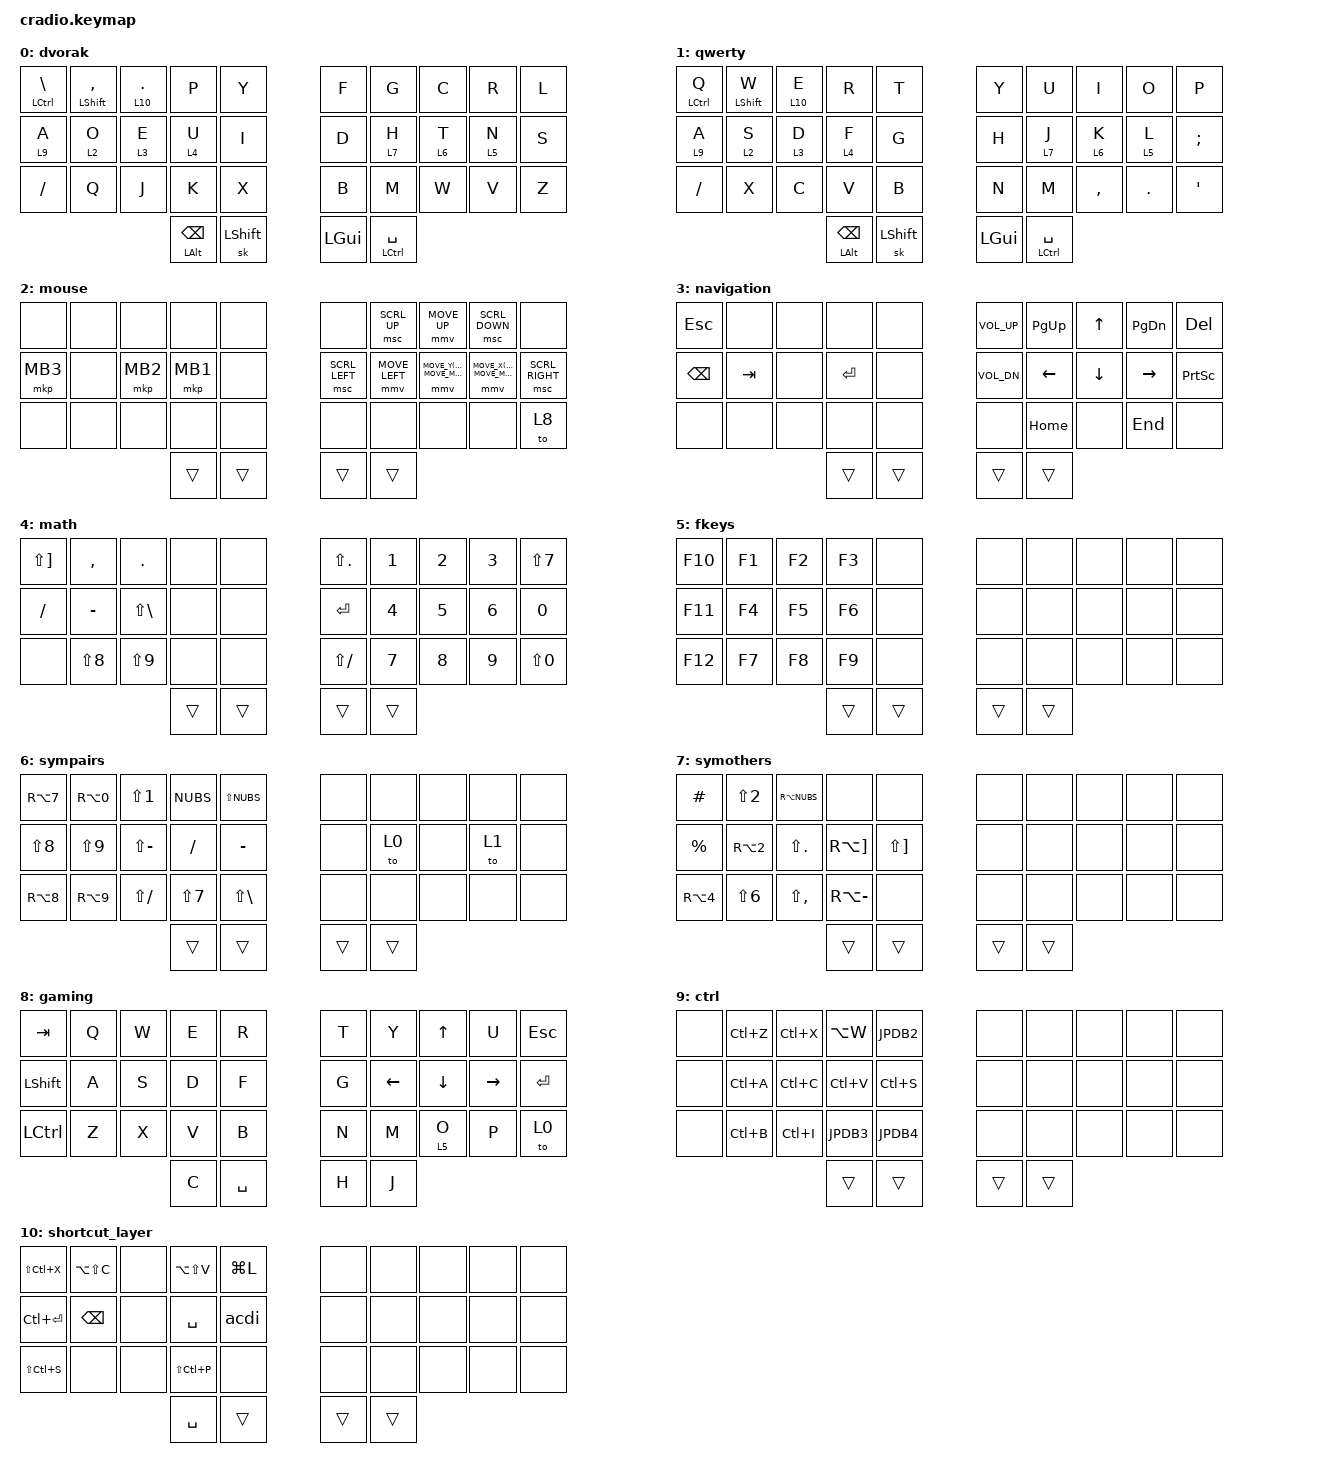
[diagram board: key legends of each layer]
// Copyright (c) 2022 The ZMK Contributors
// SPDX-License-Identifier: MIT

#include <behaviors.dtsi>
#include <dt-bindings/zmk/keys.h>
#include <dt-bindings/zmk/bt.h>
#include <behaviors/mouse_keys.dtsi>
#include <dt-bindings/zmk/mouse.h>

#define U_MOUSE_MOVE_MAX 1000                     /* <--- New max speed setting (default: 600) */
#undef MOVE_UP
#undef MOVE_DOWN
#undef MOVE_LEFT
#undef MOVE_RIGHT
#define MOVE_UP MOVE_Y(-U_MOUSE_MOVE_MAX)
#define MOVE_DOWN MOVE_Y(U_MOUSE_MOVE_MAX)
#define MOVE_LEFT MOVE_X(-U_MOUSE_MOVE_MAX)
#define MOVE_RIGHT MOVE_X(U_MOUSE_MOVE_MAX)

&mmv {
    time-to-max-speed-ms = <500>;             /* <--- How long time until max speed is reached (default: 500) */
};

 &sk {
    release-after-ms = <2000>;
    quick-release;
};


/ {
    macros {
        acdi: animecards_custom_definition_insertion {
            compatible = "zmk,behavior-macro";
            #binding-cells = <0>;
            bindings
                = <&macro_tap &kp NUBS &kp L &kp I &kp LS(NUBS)>
                ;
        };

        JPDB2: JPDB_component_styling_macro_2 {
            compatible = "zmk,behavior-macro";
            #binding-cells = <0>;
            bindings
                = <&macro_tap &kp LC(LS(V)) &kp PG_UP &kp DOWN &kp BSPC &kp SPACE &kp DOWN &kp LEFT &kp DOWN &kp BSPC &kp SPACE>
                ;
        };

        JPDB3: JPDB_component_styling_macro_3 {
            compatible = "zmk,behavior-macro";
            #binding-cells = <0>;
            bindings
                = <&macro_tap &kp LC(LS(V)) &kp PG_UP &kp PG_UP &kp DOWN &kp BSPC &kp SPACE &kp DOWN &kp LEFT &kp DOWN &kp BSPC &kp SPACE &kp DOWN &kp LEFT &kp DOWN &kp BSPC &kp SPACE>
                ;
        };

        JPDB4: JPDB_component_styling_macro_4 {
            compatible = "zmk,behavior-macro";
            #binding-cells = <0>;
            bindings
                = <&macro_tap &kp LC(LS(V)) &kp PG_UP &kp PG_UP &kp DOWN &kp BSPC &kp SPACE &kp DOWN &kp LEFT &kp DOWN &kp BSPC &kp SPACE &kp DOWN &kp LEFT &kp DOWN &kp BSPC &kp SPACE &kp DOWN &kp LEFT &kp DOWN &kp BSPC &kp SPACE>
                ;
        };

    };
};

/ {
    combos {
        compatible = "zmk,combos";
        combo_shift {
            layers = <0 1>;
            timeout-ms = <50>;
            key-positions = <0 1>;
            bindings = <&kp LSHFT>;
        };

                compatible = "zmk,combos";
        combo_caps {
            layers = <0 1>;
            timeout-ms = <50>;
            key-positions = <1 2>;
            bindings = <&kp CAPS>;
        };
    };
};

/ {
    behaviors {
        ht: hold_tap {
            compatible = "zmk,behavior-hold-tap";
            #binding-cells = <2>;
            flavor = "balanced";
            tapping-term-ms = <280>;
            quick-tap-ms = <150>;
            require-prior-idle-ms = <150>;
            bindings = <&kp>, <&kp>;
        };
        skmt: sticky_mod_tap {
            compatible = "zmk,behavior-hold-tap";
            #binding-cells = <2>;
            flavor = "balanced";
            tapping-term-ms = <220>;
            quick-tap-ms = <150>;
            require-prior-idle-ms = <100>;
            bindings = <&kp>, <&sk>;
        };
        hm: homerow_mods {
            compatible = "zmk,behavior-hold-tap";
            #binding-cells = <2>;
            tapping-term-ms = <200>;
            quick-tap-ms = <0>;
            require-prior-idle-ms = <150>;
            flavor = "tap-preferred";
            bindings = <&mo>, <&kp>;
        };
        hm2: homerow_mods2 {
            compatible = "zmk,behavior-hold-tap";
            #binding-cells = <2>;
            tapping-term-ms = <200>;
            require-prior-idle-ms = <150>;
            flavor = "tap-preferred";
            hold-while-undecided;
            bindings = <&kp>, <&kp>;
        };

        hm3: homerow_mods3 {
            compatible = "zmk,behavior-hold-tap";
            #binding-cells = <2>;
            tapping-term-ms = <200>;
            quick-tap-ms = <0>;
            require-prior-idle-ms = <150>;
            flavor = "tap-preferred";
            bindings = <&kp>, <&kp>;
        };
 };



    keymap {
        compatible = "zmk,keymap";
        
        dvorak {
            bindings = <
        //╭──────────┬──────────┬──────────┬──────────┬──────────╮   ╭──────────┬──────────┬──────────┬──────────┬──────────╮
        //│  Q       │  W       │  E       │  R       │  T       │   │  Y       │  U       │  I       │  O       │  P       │
            &hm2 LCTRL BSLH &hm2 LSHIFT COMMA &hm 10 DOT &kp P &kp Y    &kp F      &kp G      &kp C      &kp R      &kp L
        //├──────────┼──────────┼──────────┼──────────┼──────────┤   ├──────────┼──────────┼──────────┼──────────┼──────────┤
        //│  A       │  S       │  D       │  F       │  G       │   │  H       │  J       │  K       │  L       │  S       │
           &hm 9 A    &hm 2 O    &hm 3 E    &hm 4 U    &kp I          &kp D      &hm 7 H   &hm 6 T      &hm 5 N &kp S
        //├──────────┼──────────┼──────────┼──────────┼──────────┤   ├──────────┼──────────┼──────────┼──────────┼──────────┤
        //│  Z       │  X       │  C       │  V       │  B       │   │  N       │  M       │  W       │  V       │  Z       │
            &kp SLASH &kp Q      &kp J      &kp K      &kp X          &kp B      &kp M      &kp W      &kp V      &kp Z
        //╰──────────┴──────────┴──────────┼──────────┼──────────┤   ├──────────┼──────────┼──────────┴──────────┴──────────╯
                                     &hm3 LALT BSPC &sk LSHIFT  &kp LGUI   &hm3 LCTRL SPACE
        //                                 ╰──────────┴──────────╯   ╰──────────┴──────────╯
            >;
        };

        qwerty {
            bindings = <
        //╭──────────┬──────────┬──────────┬──────────┬──────────╮   ╭──────────┬──────────┬──────────┬──────────┬──────────╮
        //│  Q       │  W       │  E       │  R       │  T       │   │  Y       │  U       │  I       │  O       │  P       │
            &hm2 LCTRL Q &hm2 LSHIFT W &hm 10 E &kp R    &kp T          &kp Y      &kp U      &kp I      &kp O      &kp P
        //├──────────┼──────────┼──────────┼──────────┼──────────┤   ├──────────┼──────────┼──────────┼──────────┼──────────┤
        //│  A       │  S       │  D       │  F       │  G       │   │  H       │  J       │  K       │  L       │ ; :      │
           &hm 9 A      &hm 2 S    &hm 3 D    &hm 4 F    &kp G          &kp H      &hm 7 J    &hm 6 K      &hm 5 L  &kp SEMI
        //├──────────┼──────────┼──────────┼──────────┼──────────┤   ├──────────┼──────────┼──────────┼──────────┼──────────┤
        //│  Z       │  X       │  C       │  V       │  B       │   │  N       │  M       │ , <      │ . >      │ ' "      │
            &kp SLASH &kp X      &kp C      &kp V      &kp B          &kp N      &kp M      &kp COMMA  &kp DOT    &kp SQT
        //╰──────────┴──────────┴──────────┼──────────┼──────────┤   ├──────────┼──────────┼──────────┴──────────┴──────────╯
                                     &mt LALT BSPC &sk LSHIFT  &kp LGUI   &mt LCTRL SPACE
        //                                 ╰──────────┴──────────╯   ╰──────────┴──────────╯
            >;
        };

        mouse {
            bindings = <
        //╭──────────┬──────────┬──────────┬──────────┬──────────╮   ╭──────────┬──────────┬──────────┬──────────┬──────────╮
        //│          │          │          │          │          │   │          │          │          │          │          │
           &none      &none      &none      &none      &none          &none &msc SCRL_UP &mmv MOVE_UP &msc SCRL_DOWN &none
        //├──────────┼──────────┼──────────┼──────────┼──────────┤   ├──────────┼──────────┼──────────┼──────────┼──────────┤
        //│          │          │          │          │          │   │          │          │          │          │          │
           &mkp MB3   &none      &mkp MB2   &mkp MB1   &none &msc SCRL_LEFT &mmv MOVE_LEFT &mmv MOVE_DOWN &mmv MOVE_RIGHT &msc SCRL_RIGHT
        //├──────────┼──────────┼──────────┼──────────┼──────────┤   ├──────────┼──────────┼──────────┼──────────┼──────────┤
        //│          │          │          │          │          │   │          │          │          │          │          │
           &none      &none      &none      &none      &none          &none      &none      &none      &none      &to 8
        //╰──────────┴──────────┴──────────┼──────────┼──────────┤   ├──────────┼──────────┼──────────┴──────────┴──────────╯
                                            &trans     &trans         &trans     &trans
        //                                 ╰──────────┴──────────╯   ╰──────────┴──────────╯
            >;
        };

        navigation {
            bindings = <
        //╭──────────┬──────────┬──────────┬──────────┬──────────╮   ╭──────────┬──────────┬──────────┬──────────┬──────────╮
        //│          │          │          │          │          │   │          │          │          │          │          │
           &kp ESC    &none      &none      &none      &none        &kp K_VOL_UP &kp PG_UP  &kp UP     &kp PG_DN  &kp DEL
        //├──────────┼──────────┼──────────┼──────────┼──────────┤   ├──────────┼──────────┼──────────┼──────────┼──────────┤
        //│          │          │          │          │          │   │          │          │          │          │          │
           &kp BSPC    &kp TAB   &none      &kp RET    &none        &kp K_VOL_DN &kp LEFT   &kp DOWN   &kp RIGHT  &kp PSCRN
        //├──────────┼──────────┼──────────┼──────────┼──────────┤   ├──────────┼──────────┼──────────┼──────────┼──────────┤
        //│          │          │          │          │          │   │          │          │          │          │          │
           &none      &none      &none      &none      &none          &none      &kp HOME   &none      &kp END    &none
        //╰──────────┴──────────┴──────────┼──────────┼──────────┤   ├──────────┼──────────┼──────────┴──────────┴──────────╯
                                            &trans     &trans         &trans     &trans
        //                                 ╰──────────┴──────────╯   ╰──────────┴──────────╯
            >;
        };

        math {
            bindings = <
        //╭──────────┬──────────┬──────────┬──────────┬──────────╮   ╭──────────┬──────────┬──────────┬──────────┬──────────╮
        //│          │          │          │          │          │   │          │          │          │          │          │
           &kp LS(RBKT) &kp COMMA &kp DOT   &none      &none          &kp LS(DOT) &kp N1     &kp N2     &kp N3     &kp LS(N7)
        //├──────────┼──────────┼──────────┼──────────┼──────────┤   ├──────────┼──────────┼──────────┼──────────┼──────────┤
        //│          │          │          │          │          │   │          │          │          │          │          │
           &kp SLASH &kp MINUS &kp LS(BSLH) &none      &none          &kp RET    &kp N4     &kp N5     &kp N6     &kp N0
        //├──────────┼──────────┼──────────┼──────────┼──────────┤   ├──────────┼──────────┼──────────┼──────────┼──────────┤
        //│          │          │          │          │          │   │          │          │          │          │          │
           &none      &kp LS(N8)   &kp LS(N9)   &none      &none      &kp LS(SLASH) &kp N7  &kp N8     &kp N9   &kp LS(N0)
        //╰──────────┴──────────┴──────────┼──────────┼──────────┤   ├──────────┼──────────┼──────────┴──────────┴──────────╯
                                            &trans     &trans         &trans     &trans
        //                                 ╰──────────┴──────────╯   ╰──────────┴──────────╯
            >;
        };

        fkeys {
            bindings = <
        //╭──────────┬──────────┬──────────┬──────────┬──────────╮   ╭──────────┬──────────┬──────────┬──────────┬──────────╮
        //│          │          │          │          │          │   │          │          │          │          │          │
           &kp F10      &kp F1   &kp F2     &kp F3     &none          &none      &none      &none      &none      &none
        //├──────────┼──────────┼──────────┼──────────┼──────────┤   ├──────────┼──────────┼──────────┼──────────┼──────────┤
        //│          │          │          │          │          │   │          │          │          │          │          │
           &kp F11    &kp F4     &kp F5     &kp F6     &none          &none      &none      &none      &none      &none
        //├──────────┼──────────┼──────────┼──────────┼──────────┤   ├──────────┼──────────┼──────────┼──────────┼──────────┤
        //│          │          │          │          │          │   │          │          │          │          │          │
           &kp F12    &kp F7     &kp F8     &kp F9     &none          &none      &none      &none      &none      &none
        //╰──────────┴──────────┴──────────┼──────────┼──────────┤   ├──────────┼──────────┼──────────┴──────────┴──────────╯
                                            &trans     &trans         &trans     &trans
        //                                 ╰──────────┴──────────╯   ╰──────────┴──────────╯
            >;
        };

        sympairs {
            bindings = <
        //╭──────────┬──────────┬──────────┬──────────┬──────────╮   ╭──────────┬──────────┬──────────┬──────────┬──────────╮
        //│    -     │    =     │    !     │    <     │     >    │   │          │          │          │          │          │
           &kp RA(N7)  &kp RA(N0)  &kp LS(N1) &kp NUBS &kp LS(NUBS)   &none      &none      &none      &none      &none
        //├──────────┼──────────┼──────────┼──────────┼──────────┤   ├──────────┼──────────┼──────────┼──────────┼──────────┤
        //│    (     │    )     │    ?     │    -     │    +     │   │          │          │          │          │          │
        &kp LS(N8) &kp LS(N9) &kp LS(MINUS) &kp SLASH &kp MINUS     &none      &to 0      &none      &to 1      &none
        //├──────────┼──────────┼──────────┼──────────┼──────────┤   ├──────────┼──────────┼──────────┼──────────┼──────────┤
        //│          │          │          │          │          │   │          │          │          │          │          │
           &kp RA(N8) &kp RA(N9) &kp LS(SLASH) &kp LS(N7) &kp LS(BSLH) &none      &none      &none      &none      &none
        //╰──────────┴──────────┴──────────┼──────────┼──────────┤   ├──────────┼──────────┼──────────┴──────────┴──────────╯
                                            &trans     &trans         &trans     &trans
        //                                 ╰──────────┴──────────╯   ╰──────────┴──────────╯
            >;
        };

        symothers {
            bindings = <
        //╭──────────┬──────────┬──────────┬──────────┬──────────╮   ╭──────────┬──────────┬──────────┬──────────┬──────────╮
        //│          │          │          │          │          │   │          │          │          │          │          │
           &kp HASH   &kp LS(N2) &kp RA(NUBS) &none    &none          &none      &none      &none      &none      &none
        //├──────────┼──────────┼──────────┼──────────┼──────────┤   ├──────────┼──────────┼──────────┼──────────┼──────────┤
        //│          │          │          │          │          │   │          │          │          │          │          │
           &kp PRCNT  &kp RA(N2) &kp LS(DOT)  &kp RA(RBKT) &kp LS(RBKT) &none      &none      &none      &none      &none
        //├──────────┼──────────┼──────────┼──────────┼──────────┤   ├──────────┼──────────┼──────────┼──────────┼──────────┤
        //│          │          │          │          │          │   │          │          │          │          │          │
           &kp RA(N4)  &kp LS(N6) &kp LS(COMMA) &kp RA(MINUS) &none &none      &none      &none      &none      &none
        //╰──────────┴──────────┴──────────┼──────────┼──────────┤   ├──────────┼──────────┼──────────┴──────────┴──────────╯
                                            &trans     &trans         &trans     &trans
        //                                 ╰──────────┴──────────╯   ╰──────────┴──────────╯
            >;
        };

        gaming {
            bindings = <
        //╭──────────┬──────────┬──────────┬──────────┬──────────╮   ╭──────────┬──────────┬──────────┬──────────┬──────────╮
        //│          │          │          │          │          │   │          │          │          │          │          │
           &kp TAB    &kp Q      &kp W      &kp E      &kp R          &kp T      &kp Y      &kp UP     &kp U      &kp ESC
        //├──────────┼──────────┼──────────┼──────────┼──────────┤   ├──────────┼──────────┼──────────┼──────────┼──────────┤
        //│          │          │          │          │          │   │          │          │          │          │          │
           &kp LSHFT  &kp A      &kp S      &kp D      &kp F          &kp G      &kp LEFT   &kp DOWN     &kp RIGHT  &kp RET 
        //├──────────┼──────────┼──────────┼──────────┼──────────┤   ├──────────┼──────────┼──────────┼──────────┼──────────┤
        //│          │          │          │          │          │   │          │          │          │          │          │
           &kp LCTRL  &kp Z      &kp X    &kp V      &kp B          &kp N      &kp M      &hm 5 O    &kp P      &to 0
        //╰──────────┴──────────┴──────────┼──────────┼──────────┤   ├──────────┼──────────┼──────────┴──────────┴──────────╯
                                            &kp C      &kp SPACE      &kp H      &kp J
        //                                 ╰──────────┴──────────╯   ╰──────────┴──────────╯
            >;
        };

        ctrl {
            bindings = <
        //╭──────────┬──────────┬──────────┬──────────┬──────────╮   ╭──────────┬──────────┬──────────┬──────────┬──────────╮
        //│          │          │          │          │          │   │          │          │          │          │          │
           &none      &kp LC(Z)  &kp LC(X)   &kp LA(W) &JPDB2          &none      &none      &none      &none      &none
        //├──────────┼──────────┼──────────┼──────────┼──────────┤   ├──────────┼──────────┼──────────┼──────────┼──────────┤
        //│          │          │          │          │          │   │          │          │          │          │          │
           &none      &kp LC(A)  &kp LC(C)  &kp LC(V)  &kp LC(S)      &none      &none      &none      &none      &none
        //├──────────┼──────────┼──────────┼──────────┼──────────┤   ├──────────┼──────────┼──────────┼──────────┼──────────┤
        //│          │          │          │          │          │   │          │          │          │          │          │
           &none      &kp LC(B)  &kp LC(I)  &JPDB3     &JPDB4         &none      &none      &none      &none      &none
        //╰──────────┴──────────┴──────────┼──────────┼──────────┤   ├──────────┼──────────┼──────────┴──────────┴──────────╯
                                            &trans     &trans         &trans     &trans
        //                                 ╰──────────┴──────────╯   ╰──────────┴──────────╯
            >;
        };

        shortcut_layer {
            bindings = <
        //╭──────────┬──────────┬──────────┬──────────┬──────────╮   ╭──────────┬──────────┬──────────┬──────────┬──────────╮
        //│          │          │          │          │          │   │          │          │          │          │          │
           &kp LS(LC(X)) &kp LA(LS(C)) &none &kp LA(LS(V)) &kp LG(L)  &none      &none      &none      &none      &none
        //├──────────┼──────────┼──────────┼──────────┼──────────┤   ├──────────┼──────────┼──────────┼──────────┼──────────┤
        //│          │          │          │          │          │   │          │          │          │          │          │
           &kp LC(RET) &kp BSPC  &none      &kp SPACE  &acdi          &none      &none      &none      &none      &none
        //├──────────┼──────────┼──────────┼──────────┼──────────┤   ├──────────┼──────────┼──────────┼──────────┼──────────┤
        //│          │          │          │          │          │   │          │          │          │          │          │
           &kp LS(LC(S)) &none   &none      &kp LS(LC(P)) &none       &none      &none      &none      &none      &none
        //╰──────────┴──────────┴──────────┼──────────┼──────────┤   ├──────────┼──────────┼──────────┴──────────┴──────────╯
                                            &kp SPACE  &trans         &trans     &trans
        //                                 ╰──────────┴──────────╯   ╰──────────┴──────────╯
            >;
        };


    };
};

